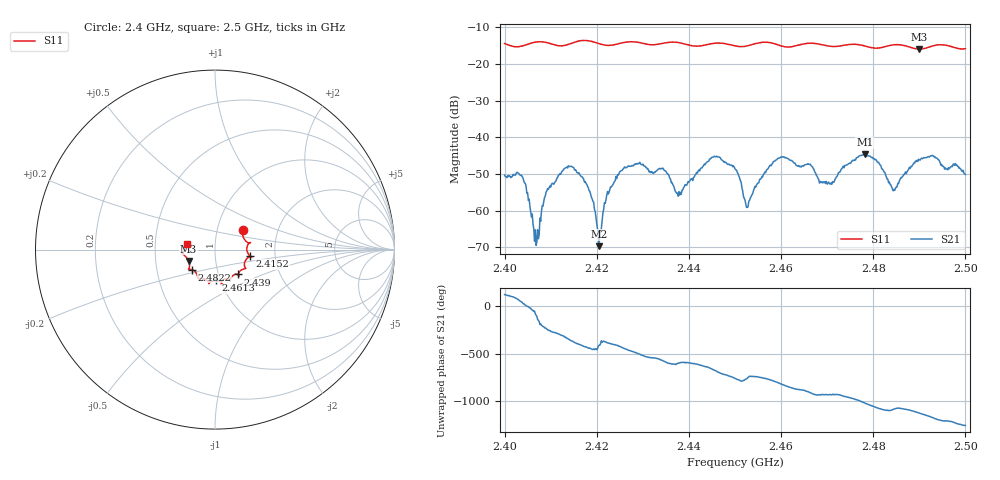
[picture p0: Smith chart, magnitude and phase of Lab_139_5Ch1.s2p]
# Hz S RI R 50
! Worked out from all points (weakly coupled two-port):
!   601 points, 2.4 GHz to 2.5 GHz, reference 50 ohm
!   highest |S21| = -44.62 dB at 2.4782 GHz (marker M1); lowest = -69.7 dB at 2.4205 GHz (marker M2)
!   lowest |S11| = -15.9 dB at 2.49 GHz (marker M3), VSWR 1.38, Z = 36.9 - j4.84 ohm
!   |S11| at or under -10 dB: start of sweep to end of sweep
!   S12 and S22 are empty: the file has one direction only
!   S11 on the Smith chart (normalised r, x): 2.4 GHz: 1.33, +0.31; 2.4152 GHz: 1.48, -0.11; 2.439 GHz: 1.24, -0.36; 2.4613 GHz: 0.96, -0.34; 2.4822 GHz: 0.76, -0.17; 2.5 GHz: 0.72, +0.05
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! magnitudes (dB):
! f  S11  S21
! 2.4 GHz  -14.4  -50.3
! 2.404 GHz  -15.0  -51.2
! 2.407 GHz  -14.0  -68.6
! 2.4093 GHz  -14.2  -54.0
! 2.4152 GHz  -14.1  -48.9
! 2.4167 GHz  -13.6  -50.8
! 2.4205 GHz  -14.4  -69.7
! 2.4225 GHz  -14.9  -55.5
! 2.4255 GHz  -14.2  -49.1
! 2.4333 GHz  -14.6  -48.7
! 2.439 GHz  -14.5  -53.5
! 2.4452 GHz  -14.4  -45.5
! 2.45 GHz  -15.0  -48.6
! 2.4527 GHz  -15.0  -59.1
! 2.4613 GHz  -15.4  -45.7
! 2.4667 GHz  -14.3  -47.9
! 2.471 GHz  -15.2  -52.8
! 2.4782 GHz  -15.1  -44.6
! 2.4822 GHz  -15.4  -49.0
! 2.4833 GHz  -15.0  -52.4
! 2.49 GHz  -15.9  -46.1
! 2.5 GHz  -15.8  -50.1
